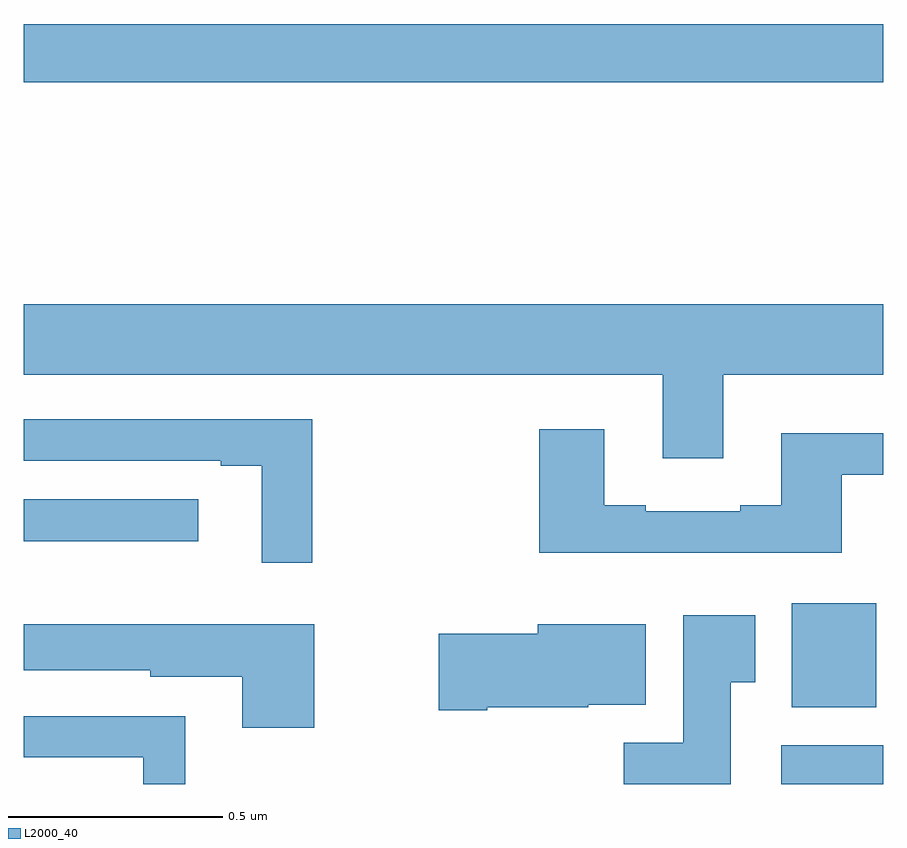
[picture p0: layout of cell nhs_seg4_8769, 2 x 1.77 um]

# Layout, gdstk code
import gdstk
lib = gdstk.Library(unit=1e-6, precision=1e-09)
def R(c, l, rs):  # rectangles x0, y0, x1, y1
    for r in rs: c.add(gdstk.rectangle(r[:2], r[2:], *l))
def P(c, l, *ps):  # polygons
    for p in ps: c.add(gdstk.Polygon(p, *l))
L2000_40 = (2000, 40)

nhs_seg4_8769 = lib.new_cell('nhs_seg4_8769')
R(nhs_seg4_8769, L2000_40, [(220.763,763.9,221,763.99), (220.787,764.078,220.984,764.32), (219,764.465,219.406,764.562), (219,765.532,221,765.668)])
P(nhs_seg4_8769, L2000_40, [(220.627,764.852),(221,764.852),(221,765.016),(219,765.016),(219,764.852),(220.487,764.852),(220.487,764.658),(220.627,764.658)],
  [(219.671,764.748),(219,764.748),(219,764.652),(219.458,764.652),(219.458,764.64),(219.554,764.64),(219.554,764.415),(219.671,764.415)],
  [(220.903,764.619),(221,764.619),(221,764.716),(220.763,764.716),(220.763,764.548),(220.667,764.548),(220.667,764.535),(220.447,764.535),(220.447,764.548),(220.351,764.548),(220.351,764.725),(220.199,764.725),(220.199,764.438),(220.903,764.438)],
  [(220.645,764.137),(220.702,764.137),(220.702,764.293),(220.535,764.293),(220.535,763.996),(220.396,763.996),(220.396,763.9),(220.645,763.9)],
  [(219.676,764.272),(219,764.272),(219,764.165),(219.294,764.165),(219.294,764.15),(219.509,764.15),(219.509,764.031),(219.676,764.031)],
  [(220.078,764.078),(220.314,764.078),(220.314,764.084),(220.447,764.084),(220.447,764.272),(220.196,764.272),(220.196,764.249),(219.966,764.249),(219.966,764.071),(220.078,764.071)],
  [(219.376,764.058),(219,764.058),(219,763.962),(219.278,763.962),(219.278,763.9),(219.376,763.9)])

lib.write_gds('nhs_seg4_8769.gds')
